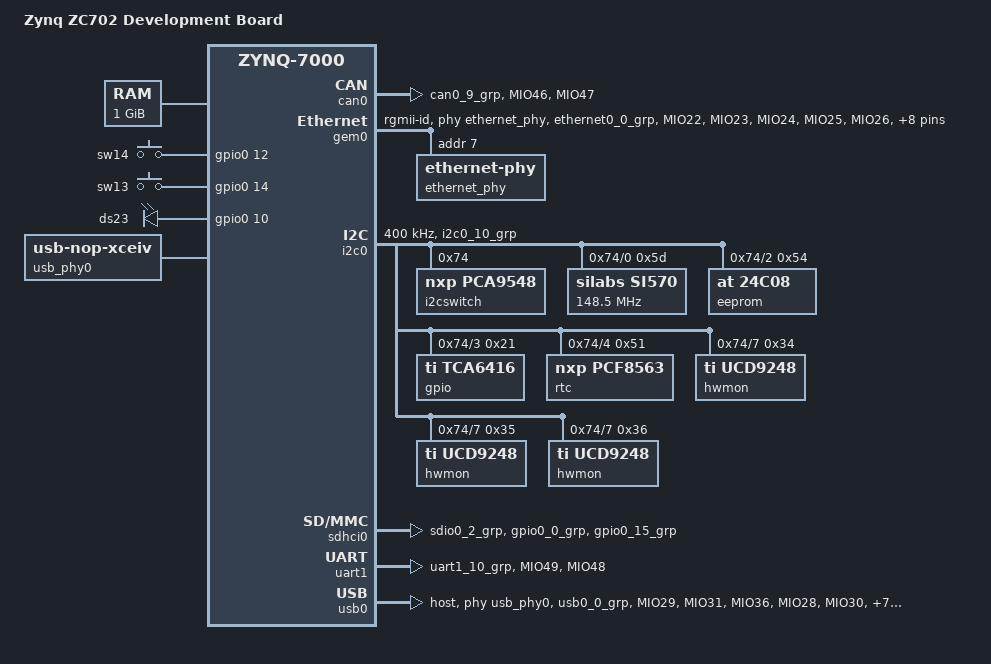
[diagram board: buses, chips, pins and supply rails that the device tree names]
/*
 *  Copyright (C) 2011 - 2014 Xilinx
 *  Copyright (C) 2012 National Instruments Corp.
 *
 * This software is licensed under the terms of the GNU General Public
 * License version 2, as published by the Free Software Foundation, and
 * may be copied, distributed, and modified under those terms.
 *
 * This program is distributed in the hope that it will be useful,
 * but WITHOUT ANY WARRANTY; without even the implied warranty of
 * MERCHANTABILITY or FITNESS FOR A PARTICULAR PURPOSE.  See the
 * GNU General Public License for more details.
 */
/dts-v1/;
/include/ "zynq-7000.dtsi"

/ {
	model = "Zynq ZC702 Development Board";
	compatible = "xlnx,zynq-zc702", "xlnx,zynq-7000";

	aliases {
		ethernet0 = &gem0;
		i2c0 = &i2c0;
		serial0 = &uart1;
	};

	memory {
		device_type = "memory";
		reg = <0x0 0x40000000>;
	};

	chosen {
		bootargs = "earlyprintk";
		stdout-path = "serial0:115200n8";
	};

	gpio-keys {
		compatible = "gpio-keys";
		#address-cells = <1>;
		#size-cells = <0>;
		autorepeat;
		sw14 {
			label = "sw14";
			gpios = <&gpio0 12 0>;
			linux,code = <108>; /* down */
			wakeup-source;
			autorepeat;
		};
		sw13 {
			label = "sw13";
			gpios = <&gpio0 14 0>;
			linux,code = <103>; /* up */
			wakeup-source;
			autorepeat;
		};
	};

	leds {
		compatible = "gpio-leds";

		ds23 {
			label = "ds23";
			gpios = <&gpio0 10 0>;
			linux,default-trigger = "heartbeat";
		};
	};

	usb_phy0: phy0 {
		compatible = "usb-nop-xceiv";
		#phy-cells = <0>;
	};
};

&amba {
	ocm: sram@fffc0000 {
		compatible = "mmio-sram";
		reg = <0xfffc0000 0x10000>;
	};
};

&can0 {
	status = "okay";
	pinctrl-names = "default";
	pinctrl-0 = <&pinctrl_can0_default>;
};

&clkc {
	ps-clk-frequency = <33333333>;
};

&gem0 {
	status = "okay";
	phy-mode = "rgmii-id";
	phy-handle = <&ethernet_phy>;
	pinctrl-names = "default";
	pinctrl-0 = <&pinctrl_gem0_default>;

	ethernet_phy: ethernet-phy@7 {
		reg = <7>;
	};
};

&gpio0 {
	pinctrl-names = "default";
	pinctrl-0 = <&pinctrl_gpio0_default>;
};

&i2c0 {
	status = "okay";
	clock-frequency = <400000>;
	pinctrl-names = "default";
	pinctrl-0 = <&pinctrl_i2c0_default>;

	i2cswitch@74 {
		compatible = "nxp,pca9548";
		#address-cells = <1>;
		#size-cells = <0>;
		reg = <0x74>;

		i2c@0 {
			#address-cells = <1>;
			#size-cells = <0>;
			reg = <0>;
			si570: clock-generator@5d {
				#clock-cells = <0>;
				compatible = "silabs,si570";
				temperature-stability = <50>;
				reg = <0x5d>;
				factory-fout = <156250000>;
				clock-frequency = <148500000>;
			};
		};

		i2c@2 {
			#address-cells = <1>;
			#size-cells = <0>;
			reg = <2>;
			eeprom@54 {
				compatible = "at,24c08";
				reg = <0x54>;
			};
		};

		i2c@3 {
			#address-cells = <1>;
			#size-cells = <0>;
			reg = <3>;
			gpio@21 {
				compatible = "ti,tca6416";
				reg = <0x21>;
				gpio-controller;
				#gpio-cells = <2>;
			};
		};

		i2c@4 {
			#address-cells = <1>;
			#size-cells = <0>;
			reg = <4>;
			rtc@51 {
				compatible = "nxp,pcf8563";
				reg = <0x51>;
			};
		};

		i2c@7 {
			#address-cells = <1>;
			#size-cells = <0>;
			reg = <7>;
			hwmon@52 {
				compatible = "ti,ucd9248";
				reg = <52>;
			};
			hwmon@53 {
				compatible = "ti,ucd9248";
				reg = <53>;
			};
			hwmon@54 {
				compatible = "ti,ucd9248";
				reg = <54>;
			};
		};
	};
};

&pinctrl0 {
	pinctrl_can0_default: can0-default {
		mux {
			function = "can0";
			groups = "can0_9_grp";
		};

		conf {
			groups = "can0_9_grp";
			slew-rate = <0>;
			io-standard = <1>;
		};

		conf-rx {
			pins = "MIO46";
			bias-high-impedance;
		};

		conf-tx {
			pins = "MIO47";
			bias-disable;
		};
	};

	pinctrl_gem0_default: gem0-default {
		mux {
			function = "ethernet0";
			groups = "ethernet0_0_grp";
		};

		conf {
			groups = "ethernet0_0_grp";
			slew-rate = <0>;
			io-standard = <4>;
		};

		conf-rx {
			pins = "MIO22", "MIO23", "MIO24", "MIO25", "MIO26", "MIO27";
			bias-high-impedance;
			low-power-disable;
		};

		conf-tx {
			pins = "MIO16", "MIO17", "MIO18", "MIO19", "MIO20", "MIO21";
			bias-disable;
			low-power-enable;
		};

		mux-mdio {
			function = "mdio0";
			groups = "mdio0_0_grp";
		};

		conf-mdio {
			groups = "mdio0_0_grp";
			slew-rate = <0>;
			io-standard = <1>;
			bias-disable;
		};
	};

	pinctrl_gpio0_default: gpio0-default {
		mux {
			function = "gpio0";
			groups = "gpio0_7_grp", "gpio0_8_grp", "gpio0_9_grp",
				 "gpio0_10_grp", "gpio0_11_grp", "gpio0_12_grp",
				 "gpio0_13_grp", "gpio0_14_grp";
		};

		conf {
			groups = "gpio0_7_grp", "gpio0_8_grp", "gpio0_9_grp",
				 "gpio0_10_grp", "gpio0_11_grp", "gpio0_12_grp",
				 "gpio0_13_grp", "gpio0_14_grp";
			slew-rate = <0>;
			io-standard = <1>;
		};

		conf-pull-up {
			pins = "MIO9", "MIO10", "MIO11", "MIO12", "MIO13", "MIO14";
			bias-pull-up;
		};

		conf-pull-none {
			pins = "MIO7", "MIO8";
			bias-disable;
		};
	};

	pinctrl_i2c0_default: i2c0-default {
		mux {
			groups = "i2c0_10_grp";
			function = "i2c0";
		};

		conf {
			groups = "i2c0_10_grp";
			bias-pull-up;
			slew-rate = <0>;
			io-standard = <1>;
		};
	};

	pinctrl_sdhci0_default: sdhci0-default {
		mux {
			groups = "sdio0_2_grp";
			function = "sdio0";
		};

		conf {
			groups = "sdio0_2_grp";
			slew-rate = <0>;
			io-standard = <1>;
			bias-disable;
		};

		mux-cd {
			groups = "gpio0_0_grp";
			function = "sdio0_cd";
		};

		conf-cd {
			groups = "gpio0_0_grp";
			bias-high-impedance;
			bias-pull-up;
			slew-rate = <0>;
			io-standard = <1>;
		};

		mux-wp {
			groups = "gpio0_15_grp";
			function = "sdio0_wp";
		};

		conf-wp {
			groups = "gpio0_15_grp";
			bias-high-impedance;
			bias-pull-up;
			slew-rate = <0>;
			io-standard = <1>;
		};
	};

	pinctrl_uart1_default: uart1-default {
		mux {
			groups = "uart1_10_grp";
			function = "uart1";
		};

		conf {
			groups = "uart1_10_grp";
			slew-rate = <0>;
			io-standard = <1>;
		};

		conf-rx {
			pins = "MIO49";
			bias-high-impedance;
		};

		conf-tx {
			pins = "MIO48";
			bias-disable;
		};
	};

	pinctrl_usb0_default: usb0-default {
		mux {
			groups = "usb0_0_grp";
			function = "usb0";
		};

		conf {
			groups = "usb0_0_grp";
			slew-rate = <0>;
			io-standard = <1>;
		};

		conf-rx {
			pins = "MIO29", "MIO31", "MIO36";
			bias-high-impedance;
		};

		conf-tx {
			pins = "MIO28", "MIO30", "MIO32", "MIO33", "MIO34",
			       "MIO35", "MIO37", "MIO38", "MIO39";
			bias-disable;
		};
	};
};

&sdhci0 {
	status = "okay";
	pinctrl-names = "default";
	pinctrl-0 = <&pinctrl_sdhci0_default>;
};

&uart1 {
	status = "okay";
	pinctrl-names = "default";
	pinctrl-0 = <&pinctrl_uart1_default>;
};

&usb0 {
	status = "okay";
	dr_mode = "host";
	usb-phy = <&usb_phy0>;
	pinctrl-names = "default";
	pinctrl-0 = <&pinctrl_usb0_default>;
};
